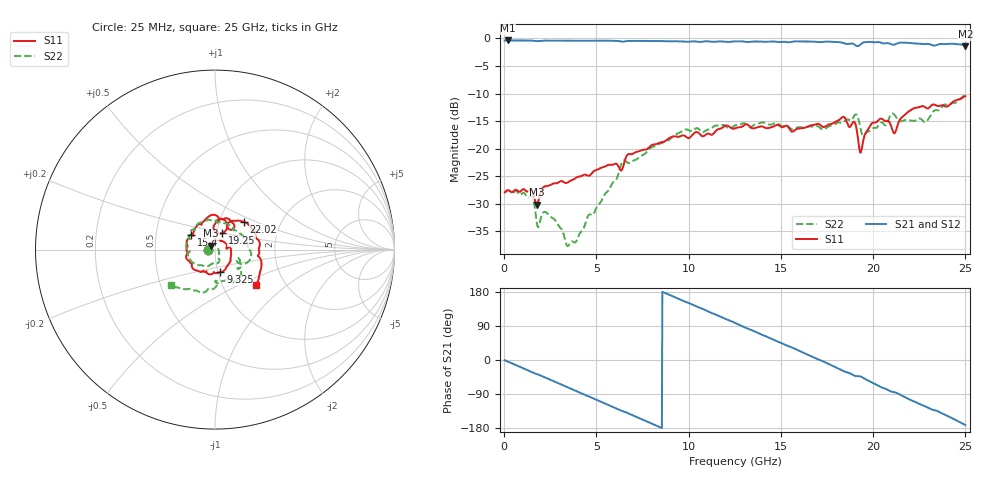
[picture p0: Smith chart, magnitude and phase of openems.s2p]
! RG_ts6_sw_gnd: Finite board 24 × 16 mm, ThunderScope stack, via F → In3 (stub to B) through In1 GND / In2 GND / In4 GND, four GND vias at 1 mm joined to In1 and In4 and In2
! stackup: ThunderScope Rev5.3 6-layer with the In2 plane
! ports: 1 F, 2 In3
! openEMS 0.37.0, staircase, fine mesh (dfine 0.035 mm), 1347456 cells
# Hz S RI R 50
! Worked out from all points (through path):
!   1000 points, 25 MHz to 25 GHz, reference 50 ohm
!   highest |S21| = -0.36 dB at 200 MHz (marker M1); lowest = -1.4 dB at 25 GHz (marker M2)
!   group delay of S21, straight-line fit = 58.7 ps
!   lowest |S11| = -30.2 dB at 1.775 GHz (marker M3), VSWR 1.06, Z = 47.8 + j2.03 ohm
!   |S11| at or under -10 dB: start of sweep to end of sweep
!   |S22| runs from -37.7 to -10.1 dB; largest |S21 - S12| = 0.0055
!   S11 on the Smith chart (normalised r, x): 25 MHz: 0.92, +0.00; 9.325 GHz: 1.03, -0.26; 15.4 GHz: 0.76, +0.13; 19.25 GHz: 1.07, +0.20; 22.02 GHz: 1.31, +0.42; 25 GHz: 1.43, -0.61
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2.5e7  -0.0402 0.000124  0.9582 -0.00855  0.9582 -0.00854  -0.04 2.89e-06
2e8  -0.0418 0.00368  0.957 -0.0704  0.9571 -0.0704  -0.0419 0.00323
1.475e9  -0.0307 0.0296  0.819 -0.4976  0.8191 -0.4975  -0.0278 0.025
1.775e9  -0.0225 0.0212  0.7516 -0.573  0.7516 -0.5729  -0.0118 0.0174
2.325e9  -0.0263 0.0375  0.6332 -0.718  0.6334 -0.7179  -0.0161 0.0204
3.45e9  -0.000237 0.0494  0.2909 -0.9097  0.2908 -0.9095  0.00427 0.0123
4.2e9  0.0211 0.0525  0.0311 -0.956  0.0309 -0.9561  0.0177 0.00216
6.45e9  0.0669 0.0155  -0.6643 -0.6595  -0.6644 -0.6597  0.0121 -0.0767
8.35e9  0.0754 -0.0825  -0.9451 -0.0786  -0.9453 -0.078  -0.0612 -0.0905
9.325e9  0.03 -0.1252  -0.9072 0.2577  -0.9068 0.2581  -0.1065 -0.0829
1.105e10  -0.0605 -0.123  -0.581 0.7408  -0.5804 0.7404  -0.1489 -0.00484
1.2525e10  -0.1315 -0.078  -0.1243 0.9338  -0.1241 0.9331  -0.1462 0.0716
1.3825e10  -0.1579 -0.00727  0.3223 0.882  0.3218 0.8814  -0.1024 0.1355
1.54e10  -0.1326 0.0841  0.7403 0.553  0.7396 0.5537  0.00787 0.1588
1.6675e10  -0.109 0.1213  0.9248 0.1483  0.9249 0.1496  0.0759 0.1388
1.84e10  -0.00916 0.194  0.7907 -0.4454  0.7924 -0.4451  0.1658 0.0542
1.9e10  0.052 0.1655  0.6561 -0.5837  0.6581 -0.5836  0.2006 -0.0176
1.925e10  0.0406 0.0915  0.6352 -0.5863  0.6367 -0.587  0.1522 -0.081
2.085e10  0.105 0.1417  0.1503 -0.8923  0.1508 -0.8951  0.1444 -0.1174
2.2025e10  0.1609 0.1543  -0.2402 -0.8757  -0.242 -0.879  0.041 -0.1752
2.3625e10  0.2455 -0.00297  -0.6651 -0.5938  -0.6682 -0.5935  -0.0416 -0.2232
2.5e10  0.2262 -0.1955  -0.8384 -0.1203  -0.8401 -0.116  -0.244 -0.1966
